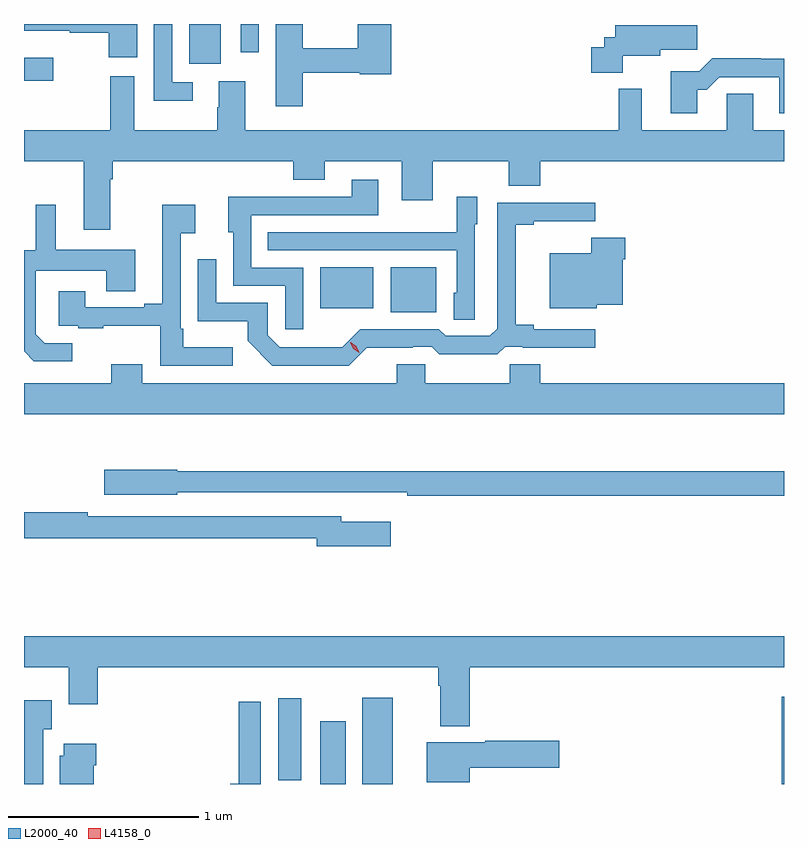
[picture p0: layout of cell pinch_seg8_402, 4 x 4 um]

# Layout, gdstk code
import gdstk
lib = gdstk.Library(unit=1e-6, precision=1e-09)
def R(c, l, rs):  # rectangles x0, y0, x1, y1
    for r in rs: c.add(gdstk.rectangle(r[:2], r[2:], *l))
def P(c, l, *ps):  # polygons
    for p in ps: c.add(gdstk.Polygon(p, *l))
L2000_40 = (2000, 40)
L4158_0 = (4158, 0)

pinch_seg8_402 = lib.new_cell('pinch_seg8_402')
R(pinch_seg8_402, L2000_40, [(492.368,1117.218,492.502,1117.549), (492.59,1117.218,492.751,1117.672), (494.798,1117.218,494.809,1117.678), (492.146,1117.239,492.268,1117.669), (492.74,1119.701,492.979,1119.937), (492.368,1119.722,492.646,1119.937), (490.809,1120.919,490.963,1121.041), (491.678,1121.01,491.845,1121.218), (491.949,1121.07,492.045,1121.218)])
P(pinch_seg8_402, L2000_40, [(492.276,1120.962),(492.576,1120.962),(492.576,1120.954),(492.743,1120.954),(492.743,1121.218),(492.565,1121.218),(492.565,1121.09),(492.276,1121.09),(492.276,1121.218),(492.134,1121.218),(492.134,1120.785),(492.276,1120.785)],
  [(491.698,1120.911),(491.589,1120.911),(491.589,1121.218),(491.493,1121.218),(491.493,1120.814),(491.698,1120.814)],
  [(491.404,1121.218),(490.809,1121.218),(490.809,1121.183),(491.05,1121.183),(491.05,1121.171),(491.255,1121.171),(491.255,1121.043),(491.404,1121.043)],
  [(493.959,1121.052),(494.158,1121.052),(494.158,1121.083),(494.353,1121.083),(494.353,1121.212),(493.922,1121.212),(493.922,1121.148),(493.863,1121.148),(493.863,1121.096),(493.794,1121.096),(493.794,1120.961),(493.959,1120.961)],
  [(494.353,1120.871),(494.402,1120.871),(494.469,1120.938),(494.783,1120.938),(494.783,1120.749),(494.809,1120.749),(494.809,1121.036),(494.687,1121.036),(494.687,1121.039),(494.432,1121.039),(494.362,1120.969),(494.213,1120.969),(494.213,1120.749),(494.353,1120.749)],
  [(491.276,1120.496),(492.227,1120.496),(492.227,1120.397),(492.391,1120.397),(492.391,1120.496),(492.797,1120.496),(492.797,1120.29),(492.961,1120.29),(492.961,1120.496),(493.361,1120.496),(493.361,1120.368),(493.525,1120.368),(493.525,1120.496),(494.809,1120.496),(494.809,1120.66),(494.647,1120.66),(494.647,1120.85),(494.508,1120.85),(494.508,1120.66),(494.059,1120.66),(494.059,1120.876),(493.938,1120.876),(493.938,1120.66),(491.974,1120.66),(491.974,1120.918),(491.834,1120.918),(491.834,1120.781),(491.827,1120.781),(491.827,1120.66),(491.389,1120.66),(491.389,1120.942),(491.264,1120.942),(491.264,1120.66),(490.809,1120.66),(490.809,1120.496),(491.123,1120.496),(491.123,1120.134),(491.263,1120.134),(491.263,1120.4),(491.276,1120.4)],
  [(492.279,1119.936),(492.006,1119.936),(492.006,1120.212),(492.673,1120.212),(492.673,1120.399),(492.533,1120.399),(492.533,1120.308),(492.103,1120.308),(492.103,1120.31),(491.885,1120.31),(491.885,1120.122),(491.91,1120.122),(491.91,1119.84),(492.183,1119.84),(492.183,1119.612),(492.279,1119.612)],
  [(493.182,1120.164),(493.195,1120.164),(493.195,1120.309),(493.086,1120.309),(493.086,1120.123),(492.769,1120.123),(492.769,1120.122),(492.091,1120.122),(492.091,1120.026),(493.086,1120.026),(493.086,1119.804),(493.07,1119.804),(493.07,1119.661),(493.182,1119.661)],
  [(492.614,1119.515),(492.854,1119.515),(492.854,1119.519),(492.954,1119.519),(492.994,1119.48),(493.301,1119.48),(493.341,1119.519),(493.435,1119.519),(493.435,1119.515),(493.816,1119.515),(493.816,1119.612),(493.492,1119.612),(493.492,1119.635),(493.397,1119.635),(493.397,1120.162),(493.492,1120.162),(493.492,1120.181),(493.816,1120.181),(493.816,1120.278),(493.299,1120.278),(493.299,1119.615),(493.26,1119.576),(493.029,1119.576),(492.993,1119.612),(492.579,1119.612),(492.485,1119.518),(492.38,1119.518),(492.38,1119.516),(492.156,1119.516),(492.093,1119.579),(492.093,1119.75),(491.82,1119.75),(491.82,1119.979),(491.724,1119.979),(491.724,1119.653),(491.986,1119.653),(491.986,1119.551),(492.116,1119.42),(492.519,1119.42)],
  [(491.908,1119.517),(491.647,1119.517),(491.647,1119.613),(491.634,1119.613),(491.634,1120.118),(491.71,1120.118),(491.71,1120.267),(491.537,1120.267),(491.537,1119.745),(491.441,1119.745),(491.441,1119.726),(491.131,1119.726),(491.131,1119.811),(490.991,1119.811),(490.991,1119.63),(491.095,1119.63),(491.095,1119.618),(491.227,1119.618),(491.227,1119.629),(491.526,1119.629),(491.526,1119.42),(491.908,1119.42)],
  [(491.062,1119.537),(490.917,1119.537),(490.87,1119.584),(490.87,1119.679),(490.872,1119.679),(490.872,1119.92),(491.243,1119.92),(491.243,1119.811),(491.395,1119.811),(491.395,1120.03),(490.975,1120.03),(490.975,1120.267),(490.871,1120.267),(490.871,1120.028),(490.809,1120.028),(490.809,1119.495),(490.861,1119.443),(491.062,1119.443)],
  [(493.824,1119.74),(493.96,1119.74),(493.96,1119.98),(493.973,1119.98),(493.973,1120.093),(493.795,1120.093),(493.795,1120.012),(493.577,1120.012),(493.577,1119.722),(493.824,1119.722)],
  [(494.809,1119.328),(493.526,1119.328),(493.526,1119.426),(493.366,1119.426),(493.366,1119.328),(492.921,1119.328),(492.921,1119.426),(492.77,1119.426),(492.77,1119.328),(491.431,1119.328),(491.431,1119.427),(491.267,1119.427),(491.267,1119.328),(490.809,1119.328),(490.809,1119.164),(494.809,1119.164)],
  [(494.809,1118.863),(491.616,1118.863),(491.616,1118.871),(491.232,1118.871),(491.232,1118.741),(491.616,1118.741),(491.616,1118.754),(492.574,1118.754),(492.574,1118.753),(492.826,1118.753),(492.826,1118.734),(494.809,1118.734)],
  [(492.739,1118.599),(492.478,1118.599),(492.478,1118.628),(491.144,1118.628),(491.144,1118.648),(490.809,1118.648),(490.809,1118.512),(492.35,1118.512),(492.35,1118.47),(492.739,1118.47)],
  [(493.154,1117.832),(494.809,1117.832),(494.809,1117.996),(490.809,1117.996),(490.809,1117.832),(491.045,1117.832),(491.045,1117.638),(491.198,1117.638),(491.198,1117.832),(492.989,1117.832),(492.989,1117.736),(493.001,1117.736),(493.001,1117.523),(493.154,1117.523)],
  [(490.909,1117.506),(490.954,1117.506),(490.954,1117.66),(490.809,1117.66),(490.809,1117.218),(490.909,1117.218)],
  [(492.054,1117.651),(491.938,1117.651),(491.938,1117.219),(491.894,1117.219),(491.894,1117.218),(492.054,1117.218)],
  [(493.156,1117.304),(493.627,1117.304),(493.627,1117.446),(493.237,1117.446),(493.237,1117.438),(492.929,1117.438),(492.929,1117.226),(493.156,1117.226)],
  [(491.176,1117.316),(491.189,1117.316),(491.189,1117.429),(491.018,1117.429),(491.018,1117.368),(490.997,1117.368),(490.997,1117.218),(491.176,1117.218)])
P(pinch_seg8_402, L4158_0, [(492.574,1119.489),(492.543,1119.51),(492.527,1119.543),(492.527,1119.544),(492.528,1119.544),(492.558,1119.523),(492.574,1119.489),(492.574,1119.489)])

lib.write_gds('pinch_seg8_402.gds')
